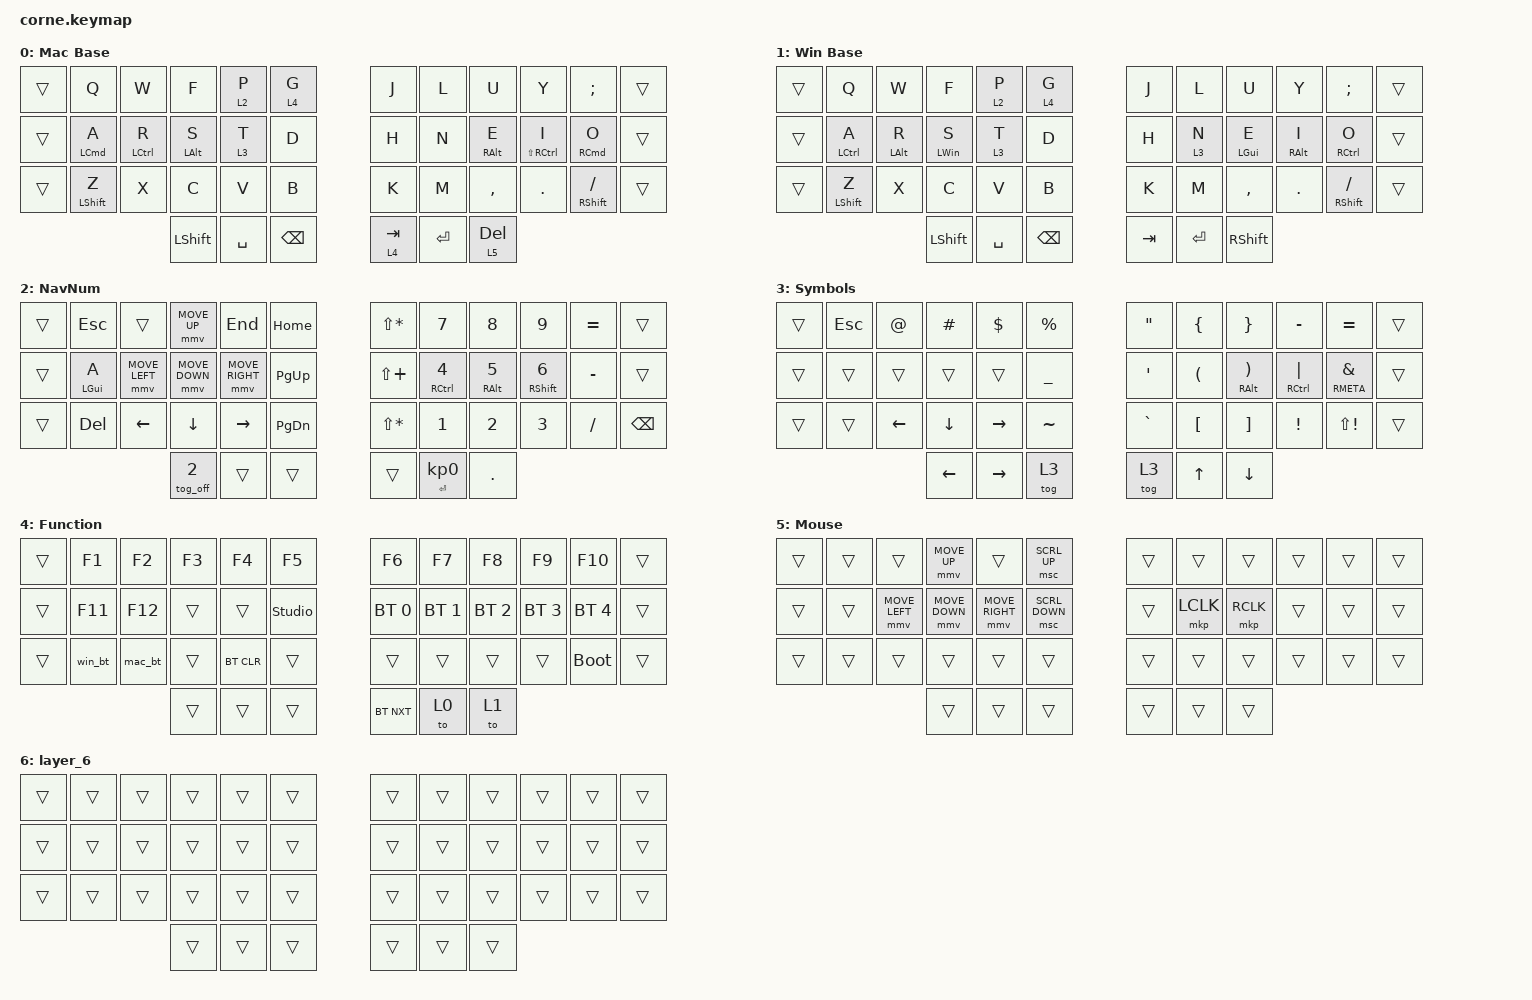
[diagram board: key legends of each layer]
#include <behaviors.dtsi>
#include <dt-bindings/zmk/bt.h>
#include <dt-bindings/zmk/keys.h>
#include <dt-bindings/zmk/pointing.h>

#define DEF 0
#define NAV 1
#define SYM 2
#define ADJ 3
#define EXTRA 4

&mt {
    tapping-term-ms = <300>;
    quick-tap-ms = <175>;
};

/ {
    behaviors {
        hm: homerow_mods {
            compatible = "zmk,behavior-hold-tap";
            #binding-cells = <2>;
            tapping-term-ms = <200>;
            flavor = "tap-preferred";
            bindings = <&kp>, <&kp>;

            quick-tap-ms = <180>;
            require-prior-idle-ms = <120>; /* tune to taste */
        };

        para: para {
            compatible = "zmk,behavior-tap-dance";
            #binding-cells = <0>;
            bindings = <&kp LEFT_PARENTHESIS>, <&kp RIGHT_PARENTHESIS>;
        };

        caps: caps {
            compatible = "zmk,behavior-caps-word";
            #binding-cells = <0>;
            continue-list = <MINUS BACKSPACE>;
        };

        paraless: paraless {
            compatible = "zmk,behavior-mod-morph";
            bindings = <&kp LEFT_PARENTHESIS>, <&kp LESS_THAN>;

            #binding-cells = <0>;
            mods = <(MOD_LSFT)>;
        };

        paragreat: paragreat {
            compatible = "zmk,behavior-mod-morph";
            bindings = <&kp RIGHT_PARENTHESIS>, <&kp GREATER_THAN>;

            #binding-cells = <0>;
            mods = <(MOD_LSFT)>;
        };

        tog_on: tog_on {
            compatible = "zmk,behavior-toggle-layer";
            label = "TOG_ON";
            #binding-cells = <1>;
        };

        tog_off: tog_off {
            compatible = "zmk,behavior-toggle-layer";
            label = "TOG_OFF";
            #binding-cells = <1>;
            toggle-mode = "off";
        };
    };

    macros {
        browsertab: browsertab {
            compatible = "zmk,behavior-macro";
            #binding-cells = <0>;
            bindings =
                <&macro_press>,
                <&kp LCTRL>,
                <&macro_tap>,
                <&kp TAB>,
                <&macro_release>,
                <&kp LCTRL>;
        };

        win_bt: win_bt {
            compatible = "zmk,behavior-macro";
            #binding-cells = <0>;
            bindings = <&bt BT_SEL 0 &to 1>;
            label = "WIN_BT";
        };

        mac_bt: mac_bt {
            compatible = "zmk,behavior-macro";
            #binding-cells = <0>;
            bindings = <&bt BT_SEL 1 &to 0>;
            label = "MAC_BT";
        };
    };

    combos {
        compatible = "zmk,combos";

        escape {
            bindings = <&kp ESCAPE>;
            key-positions = <13 29>;
        };

        delete {
            bindings = <&kp DELETE>;
            key-positions = <15 21>;
        };

        perc {
            bindings = <&kp PERCENT>;
            key-positions = <5 17>;
            layers = <0>;
        };

        equal {
            bindings = <&kp EQUAL>;
            key-positions = <28 16>;
            layers = <0>;
        };

        dollar {
            bindings = <&kp DOLLAR>;
            key-positions = <4 16>;
            layers = <0>;
        };

        pound {
            bindings = <&kp POUND>;
            key-positions = <3 15>;
            layers = <0>;
        };

        at {
            bindings = <&kp AT>;
            key-positions = <2 14>;
            layers = <0>;
        };

        backslash {
            bindings = <&kp BACKSLASH>;
            key-positions = <26 14>;
            layers = <0>;
        };

        star {
            bindings = <&kp STAR>;
            key-positions = <8 20>;
            layers = <0>;
        };

        slash {
            bindings = <&kp SLASH>;
            key-positions = <32 20>;
            layers = <0>;
        };

        plus {
            bindings = <&kp PLUS>;
            key-positions = <7 19>;
            layers = <0>;
        };

        minus {
            bindings = <&kp KP_MINUS>;
            key-positions = <31 19>;
            layers = <0>;
        };

        underscore {
            bindings = <&kp UNDER>;
            key-positions = <30 18>;
            layers = <0>;
        };

        leftbrack {
            bindings = <&kp LEFT_BRACKET>;
            key-positions = <31 32>;
            layers = <0>;
        };

        rightbrack {
            bindings = <&kp RIGHT_BRACKET>;
            key-positions = <33 32>;
            layers = <0>;
        };

        para-great {
            bindings = <&paragreat>;
            key-positions = <20 21>;
            layers = <0>;
        };

        CAPSWORD {
            bindings = <&caps_word>;
            key-positions = <37 40>;
        };
    };

    //

    keymap {
        compatible = "zmk,keymap";

        MAC {
            display-name = "Mac Base";

            // -----------------------------------------------------------------------------------------
            // |  Q  |  W  |  E  |  R  |  T  |   |  Y  |  U   |  I  |  O  |  P  |
            // |  A  |  S  |  D  |  F  |  G  |   |  H  |  J   |  K  |  L  |  ;  |
            // |  Z  |  X  |  C  |  V  |  B  |   |  N  |  M   |  ,  |  .  |  /  |
            // | GUI | CTRL | SHFT | LWR | SPC |   | ENT | RSE  | BKSP | ALT | ESC |

            bindings = <
&trans  &kp Q               &kp W               &kp F           &lt 2 P    &lt 4 G     &kp J      &kp L    &kp U            &kp Y                    &kp SEMI             &trans
&trans  &hm LEFT_COMMAND A  &hm LEFT_CONTROL R  &hm LEFT_ALT S  &lt 3 T    &kp D       &kp H      &kp N    &hm RIGHT_ALT E  &hm LS(RIGHT_CONTROL) I  &hm RIGHT_COMMAND O  &trans
&trans  &mt LEFT_SHIFT Z    &kp X               &kp C           &kp V      &kp B       &kp K      &kp M    &kp COMMA        &kp DOT                  &mt RSHIFT FSLH      &trans
                                                &kp LSHFT       &kp SPACE  &kp BSPC    &lt 4 TAB  &kp RET  &lt 5 DELETE
            >;
        };

        WIN {
            display-name = "Win Base";
            bindings = <
&trans  &kp Q               &kp W           &kp F           &lt 2 P    &lt 4 G     &kp J    &kp L    &kp U           &kp Y            &kp SEMI               &trans
&trans  &hm LEFT_CONTROL A  &hm LEFT_ALT R  &hm LEFT_WIN S  &lt 3 T    &kp D       &kp H    &lt 3 N  &hm LEFT_GUI E  &hm RIGHT_ALT I  &hm RIGHT_CONTROL O    &trans
&trans  &hm LEFT_SHIFT Z    &kp X           &kp C           &kp V      &kp B       &kp K    &kp M    &kp COMMA       &kp DOT          &hm RIGHT_SHIFT SLASH  &trans
                                            &kp LSHFT       &kp SPACE  &kp BSPC    &kp TAB  &kp RET  &kp RSHFT
            >;
        };

        NUM {
            display-name = "NavNum";

            // -----------------------------------------------------------------------------------------
            // |  TAB |  1  |  2  |  3  |  4  |  5  |   |  6  |  7  |  8  |  9  |  0  | BKSP |
            // | BTCLR| BT1 | BT2 | BT3 | BT4 | BT5 |   | LFT | DWN |  UP | RGT |     |      |
            // | SHFT |     |     |     |     |     |   |     |     |     |     |     |      |
            // | GUI | CTRL | SHFT | LWR | SPC |   | ENT | RSE  | BKSP | ALT | ESC |

            bindings = <
&trans  &kp ESC     &trans          &mmv MOVE_UP    &kp END          &kp HOME         &kp LS(STAR)  &kp N7                  &kp N8       &kp N9        &kp EQUAL  &trans
&trans  &hm LGUI A  &mmv MOVE_LEFT  &mmv MOVE_DOWN  &mmv MOVE_RIGHT  &kp PAGE_UP      &kp LS(PLUS)  &hm RCTRL N4            &hm RALT N5  &hm RSHFT N6  &kp MINUS  &trans
&trans  &kp DEL     &kp LEFT        &kp DOWN        &kp RIGHT_ARROW  &kp PAGE_DOWN    &kp LS(STAR)  &kp N1                  &kp N2       &kp N3        &kp FSLH   &kp BSPC
                                    &tog_off 2      &trans           &trans           &trans        &mt RETURN KP_NUMBER_0  &kp PERIOD
            >;
        };

        SYM {
            display-name = "Symbols";

            // -----------------------------------------------------------------------------------------
            // |  TAB |  !  |  @  |  #  |  $  |  %  |   |  ^  |  &  |  *  |  (  |  )  | BKSP |
            // | CTRL |     |     |     |     |     |   |  -  |  =  |  [  |  ]  |  \  |  `   |
            // | SHFT |     |     |     |     |     |   |  _  |  +  |  {  |  }  | "|" |  ~   |
            //                    | GUI |     | SPC |   | ENT |     | ALT |

            bindings = <
&trans  &kp ESCAPE  &kp AT          &kp HASH        &kp DLLR         &kp PRCNT    &kp DOUBLE_QUOTES  &kp LEFT_BRACE        &kp RIGHT_BRACE                  &kp MINUS       &kp EQUAL            &trans
&trans  &trans      &trans          &trans          &trans           &kp UNDER    &kp SQT            &kp LEFT_PARENTHESIS  &hm RIGHT_ALT RIGHT_PARENTHESIS  &hm RCTRL PIPE  &hm RMETA AMPERSAND  &trans
&trans  &trans      &kp LEFT_ARROW  &kp DOWN_ARROW  &kp RIGHT_ARROW  &kp TILDE    &kp GRAVE          &kp LBKT              &kp RIGHT_BRACKET                &kp EXCL        &kp LS(EXCLAMATION)  &trans
                                    &kp LEFT        &kp RIGHT        &tog 3       &tog 3             &kp UP_ARROW          &kp DOWN_ARROW
            >;
        };

        FUNC {
            display-name = "Function";
            bindings = <
&trans  &kp F1   &kp F2   &kp F3  &kp F4      &kp F5            &kp F6        &kp F7        &kp F8        &kp F9        &kp F10       &trans
&trans  &kp F11  &kp F12  &trans  &trans      &studio_unlock    &bt BT_SEL 0  &bt BT_SEL 1  &bt BT_SEL 2  &bt BT_SEL 3  &bt BT_SEL 4  &trans
&trans  &win_bt  &mac_bt  &trans  &bt BT_CLR  &trans            &trans        &trans        &trans        &trans        &bootloader   &trans
                          &trans  &trans      &trans            &bt BT_NXT    &to 0         &to 1
            >;
        };

        EXTRA {
            display-name = "Mouse";
            bindings = <
&trans  &trans  &trans          &mmv MOVE_UP    &trans           &msc SCRL_UP      &trans  &trans     &trans     &trans  &trans  &trans
&trans  &trans  &mmv MOVE_LEFT  &mmv MOVE_DOWN  &mmv MOVE_RIGHT  &msc SCRL_DOWN    &trans  &mkp LCLK  &mkp RCLK  &trans  &trans  &trans
&trans  &trans  &trans          &trans          &trans           &trans            &trans  &trans     &trans     &trans  &trans  &trans
                                &trans          &trans           &trans            &trans  &trans     &trans
            >;
        };

        layer_6 {
            bindings = <
&trans  &trans  &trans  &trans  &trans  &trans    &trans  &trans  &trans  &trans  &trans  &trans
&trans  &trans  &trans  &trans  &trans  &trans    &trans  &trans  &trans  &trans  &trans  &trans
&trans  &trans  &trans  &trans  &trans  &trans    &trans  &trans  &trans  &trans  &trans  &trans
                        &trans  &trans  &trans    &trans  &trans  &trans
            >;
        };
    };
};
